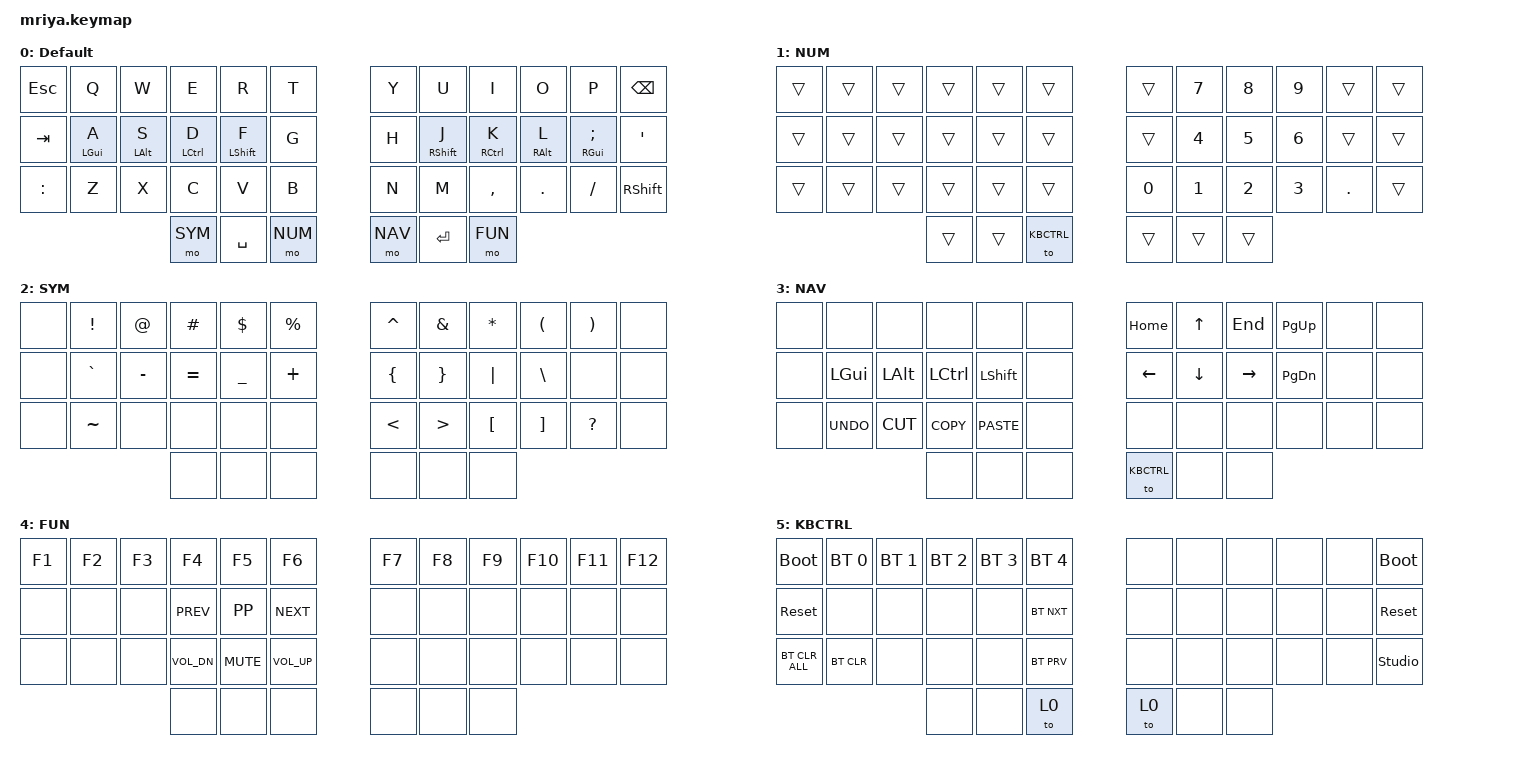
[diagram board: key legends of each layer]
/*
 * Copyright (c) 2020 The ZMK Contributors
 *
 * SPDX-License-Identifier: MIT
 */

#include <behaviors.dtsi>
#include <dt-bindings/zmk/keys.h>
#include <dt-bindings/zmk/bt.h>

#define DEFAULT 0
#define NUM     1
#define SYM     2
#define NAV     3
#define FUN     4
#define KBCTRL  5

#define HM_A  &hm LGUI A
#define HM_S  &hm LALT S
#define HM_D  &hm LCTL D
#define HM_F  &hm LSHFT F

#define HM_J  &hm RSHFT J
#define HM_K  &hm RCTL  K
#define HM_L  &hm RALT  L
#define HM_SCLN &hm RGUI SEMI

&lt {
};

&mt { flavor = "balanced"; };

/ {
};

/ {
    combos {
        compatible = "zmk,combos";

        ju-enter {
            bindings = <&kp ENTER>;
            key-positions = <7 19>;
        };

        fr-enter {
            bindings = <&kp ENTER>;
            key-positions = <16 4>;
        };
    };
    behaviors {
        hm: home_row_mods {
            compatible = "zmk,behavior-hold-tap";
            #binding-cells = <2>;
            tapping-term-ms = <300>;
            quick-tap-ms = <0>;
            flavor = "tap-preferred";
            bindings = <&kp>, <&kp>;
        };
    };
};

/ {
    keymap {
        compatible = "zmk,keymap";

        // ▄▄▄▄▄▄▄▄▄▄▄▄▄▄▄▄▄▄▄▄▄▄▄▄▄▄▄▄▄▄▄▄▄▄▄▄▄▄▄▄▄▄▄▄▄▄▄▄▄▄▄▄▄▄▄▄▄▄▄▄▄▄▄▄▄▄▄▄▄▄▄▄▄▄▄▄▄▄▄▄▄▄▄▄▄▄▄▄▄▄▄▄▄▄▄▄▄▄▄▄▄▄▄▄▄▄▄▄▄▄▄▄▄▄

        default_layer {
            label = "Default";
            /*
┌───────┬───────┬───────┬───────┬───────┬───────┐                   ┌───────┬───────┬───────┬───────┬───────┬───────┐
│  ESC  │   Q   │   W   │   E   │   R   │   T   │                   │   Y   │   U   │   I   │   O   │   P   │ BSPC  │
├───────┼───────┼───────┼───────┼───────┼───────┤                   ├───────┼───────┼───────┼───────┼───────┼───────┤
│  TAB  │ A/GUI │ S/ALT │ D/CTL │ F/SFT │   G   │                   │   H   │ J/SFT │ K/CTL │ L/ALT │ ;/GUI │   '   │
├───────┼───────┼───────┼───────┼───────┼───────┤                   ├───────┼───────┼───────┼───────┼───────┼───────┤
│  :    │   Z   │   X   │   C   │   V   │   B   │                   │   N   │   M   │   ,   │   .   │   /   │ RSFT  │
└───────┴───────┴───────┴───────┼───────┼───────┼───────┐   ┌───────┼───────┼───────┼───────┴───────┴───────┴───────┘
                                │  SYM  │ SPACE │  NAV  │   │  NUM  │ ENTER │  FUN  │
                                └───────┴───────┴───────┘   └───────┴───────┴───────┘
            */

            bindings = <
                &kp ESC    &kp Q     &kp W     &kp E     &kp R     &kp T        &kp Y     &kp U     &kp I     &kp O     &kp P     &kp BSPC
                &kp TAB    HM_A      HM_S      HM_D      HM_F      &kp G        &kp H     HM_J      HM_K      HM_L      HM_SCLN   &kp APOS
                &kp COLON  &kp Z     &kp X     &kp C     &kp V     &kp B        &kp N     &kp M     &kp COMMA &kp DOT   &kp SLASH &kp RSHFT
                                              &mo SYM  &kp SPACE &mo NUM        &mo NAV &kp ENTER &mo FUN
            >;
        };

        // ▄▄▄▄▄▄▄▄▄▄▄▄▄▄▄▄▄▄▄▄▄▄▄▄▄▄▄▄▄▄▄▄▄▄▄▄▄▄▄▄▄▄▄▄▄▄▄▄▄▄▄▄▄▄▄▄▄▄▄▄▄▄▄▄▄▄▄▄▄▄▄▄▄▄▄▄▄▄▄▄▄▄▄▄▄▄▄▄▄▄▄▄▄▄▄▄▄▄▄▄▄▄▄▄▄▄▄▄▄▄▄▄▄▄

        num_layer {
            label = "NUM";
            /*
┌───────┬───────┬───────┬───────┬───────┬───────┐                   ┌───────┬───────┬───────┬───────┬───────┬───────┐
│       │   7   │   8   │   9   │       │       │                   │       │   7   │   8   │   9   │       │       │
├───────┼───────┼───────┼───────┼───────┼───────┤                   ├───────┼───────┼───────┼───────┼───────┼───────┤
│       │   4   │   5   │   6   │       │       │                   │       │   4   │   5   │   6   │       │       │
├───────┼───────┼───────┼───────┼───────┼───────┤                   ├───────┼───────┼───────┼───────┼───────┼───────┤
│       │   1   │   2   │   3   │   0   │   .   │                   │  0    │   1   │   2   │   3   │   .   │       │
└───────┴───────┴───────┴───────┼───────┼───────┼───────┐   ┌───────┼───────┼───────┼───────┴───────┴───────┴───────┘
                                │       │       │       │   │       │       │       │
                                └───────┴───────┴───────┘   └───────┴───────┴───────┘
            */

            bindings = <
                &trans &trans &trans &trans &trans &trans &trans &kp N7 &kp N8 &kp N9 &trans &trans
                &trans &trans &trans &trans &trans &trans &trans &kp N4 &kp N5 &kp N6 &trans &trans
                &trans &trans &trans &trans &trans &trans &kp N0 &kp N1 &kp N2 &kp N3 &kp DOT &trans  
                               &trans &trans &to KBCTRL         &trans &trans &trans
            >;
        };

        // ▄▄▄▄▄▄▄▄▄▄▄▄▄▄▄▄▄▄▄▄▄▄▄▄▄▄▄▄▄▄▄▄▄▄▄▄▄▄▄▄▄▄▄▄▄▄▄▄▄▄▄▄▄▄▄▄▄▄▄▄▄▄▄▄▄▄▄▄▄▄▄▄▄▄▄▄▄▄▄▄▄▄▄▄▄▄▄▄▄▄▄▄▄▄▄▄▄▄▄▄▄▄▄▄▄▄▄▄▄▄▄▄▄▄


        // ▄▄▄▄▄▄▄▄▄▄▄▄▄▄▄▄▄▄▄▄▄▄▄▄▄▄▄▄▄▄▄▄▄▄▄▄▄▄▄▄▄▄▄▄▄▄▄▄▄▄▄▄▄▄▄▄▄▄▄▄▄▄▄▄▄▄▄▄▄▄▄▄▄▄▄▄▄▄▄▄▄▄▄▄▄▄▄▄▄▄▄▄▄▄▄▄▄▄▄▄▄▄▄▄▄▄▄▄▄▄▄▄▄▄

        sym_layer {
            label = "SYM";
            /*
┌───────┬───────┬───────┬───────┬───────┬───────┐                   ┌───────┬───────┬───────┬───────┬───────┬───────┐
│       │   !   │   @   │   #   │   $   │   %   │                   │   ^   │   &   │   *   │   (   │   )   │       │
├───────┼───────┼───────┼───────┼───────┼───────┤                   ├───────┼───────┼───────┼───────┼───────┼───────┤
│       │   `   │   -   │   =   │   _   │   +   │                   │   {   │   }   │   |   │   \   │       │       │
├───────┼───────┼───────┼───────┼───────┼───────┤                   ├───────┼───────┼───────┼───────┼───────┼───────┤
│       │   ~   │       │       │       │       │                   │   <   │   >   │   [   │   ]   │   ?   │       │
└───────┴───────┴───────┴───────┼───────┼───────┼───────┐   ┌───────┼───────┼───────┼───────┴───────┴───────┴───────┘
                                │       │       │       │   │       │       │       │
                                └───────┴───────┴───────┘   └───────┴───────┴───────┘
            */

            bindings = <
                &none &kp EXCL  &kp AT    &kp HASH  &kp DOLLAR &kp PERCENT   &kp CARET &kp AMPS &kp STAR &kp LPAR &kp RPAR &none
                &none &kp GRAVE &kp MINUS &kp EQUAL &kp UNDER  &kp PLUS    &kp LEFT_BRACE &kp RIGHT_BRACE &kp PIPE &kp BACKSLASH &none &none
                &none &kp TILDE &none     &none     &none      &none         &kp LT     &kp GT     &kp LEFT_BRACKET &kp RIGHT_BRACKET &kp QUESTION &none
                               &none &none &none                  &none &none &none
            >;
        };

        // ▄▄▄▄▄▄▄▄▄▄▄▄▄▄▄▄▄▄▄▄▄▄▄▄▄▄▄▄▄▄▄▄▄▄▄▄▄▄▄▄▄▄▄▄▄▄▄▄▄▄▄▄▄▄▄▄▄▄▄▄▄▄▄▄▄▄▄▄▄▄▄▄▄▄▄▄▄▄▄▄▄▄▄▄▄▄▄▄▄▄▄▄▄▄▄▄▄▄▄▄▄▄▄▄▄▄▄▄▄▄▄▄▄▄
        // ▄▄▄▄▄▄▄▄▄▄▄▄▄▄▄▄▄▄▄▄▄▄▄▄▄▄▄▄▄▄▄▄▄▄▄▄▄▄▄▄▄▄▄▄▄▄▄▄▄▄▄▄▄▄▄▄▄▄▄▄▄▄▄▄▄▄▄▄▄▄▄▄▄▄▄▄▄▄▄▄▄▄▄▄▄▄▄▄▄▄▄▄▄▄▄▄▄▄▄▄▄▄▄▄▄▄▄▄▄▄▄▄▄▄

        nav_layer {
            label = "NAV";
            /*
┌───────┬───────┬───────┬───────┬───────┬───────┐                   ┌───────┬───────┬───────┬───────┬───────┬───────┐
│       │       │       │       │       │       │                   │ HOME  │  UP   │  END  │ PGUP  │       │       │
├───────┼───────┼───────┼───────┼───────┼───────┤                   ├───────┼───────┼───────┼───────┼───────┼───────┤
│       │ LGUI  │ LALT  │ LCTL  │ LSFT  │       │                   │ LEFT  │ DOWN  │ RIGHT │ PGDN  │       │       │
├───────┼───────┼───────┼───────┼───────┼───────┤                   ├───────┼───────┼───────┼───────┼───────┼───────┤
│       │ UNDO  │ CUT   │ COPY  │ PASTE │       │                   │       │       │       │       │       │       │
└───────┴───────┴───────┴───────┼───────┼───────┼───────┐   ┌───────┼───────┼───────┼───────┴───────┴───────┴───────┘
                                │       │       │       │   │       │       │       │
                                └───────┴───────┴───────┘   └───────┴───────┴───────┘
            */

            bindings = <
                &none &none &none &none &none &none        &kp HOME &kp UP    &kp END   &kp PG_UP &none &none
                &none &kp LGUI &kp LALT &kp LCTL &kp LSHFT &none   &kp LEFT &kp DOWN &kp RIGHT &kp PG_DN &none &none
                &none &kp K_UNDO &kp K_CUT  &kp K_COPY &kp K_PASTE &none   &none &none &none &none &none &none
                               &none &none &none                  &to KBCTRL &none &none
            >;
        };

        // ▄▄▄▄▄▄▄▄▄▄▄▄▄▄▄▄▄▄▄▄▄▄▄▄▄▄▄▄▄▄▄▄▄▄▄▄▄▄▄▄▄▄▄▄▄▄▄▄▄▄▄▄▄▄▄▄▄▄▄▄▄▄▄▄▄▄▄▄▄▄▄▄▄▄▄▄▄▄▄▄▄▄▄▄▄▄▄▄▄▄▄▄▄▄▄▄▄▄▄▄▄▄▄▄▄▄▄▄▄▄▄▄▄▄

        fun_layer {
            label = "FUN";
            /*
┌───────┬───────┬───────┬───────┬───────┬───────┐                   ┌───────┬───────┬───────┬───────┬───────┬───────┐
│  F1   │  F2   │  F3   │  F4   │  F5   │  F6   │                   │  F7   │  F8   │  F9   │ F10   │ F11   │ F12   │
├───────┼───────┼───────┼───────┼───────┼───────┤                   ├───────┼───────┼───────┼───────┼───────┼───────┤
│       │       │       │ PREV  │ PLAY  │ NEXT  │                   │       │       │       │       │       │       │
├───────┼───────┼───────┼───────┼───────┼───────┤                   ├───────┼───────┼───────┼───────┼───────┼───────┤
│       │       │       │ VOLD  │ MUTE  │ VOLU  │                   │       │       │       │       │       │       │
└───────┴───────┴───────┴───────┼───────┼───────┼───────┐   ┌───────┼───────┼───────┼───────┴───────┴───────┴───────┘
                                │       │       │       │   │       │       │       │
                                └───────┴───────┴───────┘   └───────┴───────┴───────┘
            */

            bindings = <
                &kp F1 &kp F2 &kp F3 &kp F4 &kp F5 &kp F6                 &kp F7 &kp F8 &kp F9 &kp F10 &kp F11 &kp F12
                &none  &none  &none &kp K_PREV  &kp K_PP &kp K_NEXT       &none   &none   &none &none  &none  &none  
                &none  &none  &none &kp K_VOL_DN &kp K_MUTE &kp K_VOL_UP  &none   &none   &none &none  &none  &none  
                              &none &none &none                 &none &none &none
            >;
        };

        // ▄▄▄▄▄▄▄▄▄▄▄▄▄▄▄▄▄▄▄▄▄▄▄▄▄▄▄▄▄▄▄▄▄▄▄▄▄▄▄▄▄▄▄▄▄▄▄▄▄▄▄▄▄▄▄▄▄▄▄▄▄▄▄▄▄▄▄▄▄▄▄▄▄▄▄▄▄▄▄▄▄▄▄▄▄▄▄▄▄▄▄▄▄▄▄▄▄▄▄▄▄▄▄▄▄▄▄▄▄▄▄▄▄▄

        kb_control_layer {
            // ┌────────────────────────────────────────────┐

            label = "KBCTRL";

            // └────────────────────────────────────────────┘
            /*
┌───────┬───────┬───────┬───────┬───────┬───────┐                   ┌───────┬───────┬───────┬───────┬───────┬───────┐
│ BKSP  │   *   │   9   │   8   │   7   │   +   │                   │ NEXT  │ VOLU  │ PSCRN │       │       │ RGUI  │
├───────┼───────┼───────┼───────┼───────┼───────┤                   ├───────┼───────┼───────┼───────┼───────┼───────┤                      
│ CTRL  │   /   │   3   │   2   │   1   │   0   │                   │ PLAY  │ VOLD  │       │       │       │ CTRL  │
├───────┼───────┼───────┼───────┼───────┼───────┤                   ├───────┼───────┼───────┼───────┼───────┼───────┤
│ ALT/= │   .   │   6   │   5   │   4   │   -   │                   │ PREV  │ MUTE  │       │       │       │ RALT  │
└───────┴───────┴───────┴───────┼───────┼───────┼───────┐   ┌───────┼───────┼───────┼───────┴───────┴───────┴───────┘
                                │   ▲   │ LSHFT │  ADJ  │   │  ADJ  │ RSHFT │   ▲   │
                                └───────┴───────┴───────┘   └───────┴───────┴───────┘  
*/

            bindings = <
&bootloader     &bt BT_SEL 0  &bt BT_SEL 1  &bt BT_SEL 2  &bt BT_SEL 3  &bt BT_SEL 4                &none  &none  &none  &none  &none  &bootloader
&sys_reset      &none         &none         &none         &none         &bt BT_NXT                  &none  &none  &none  &none  &none  &sys_reset
&bt BT_CLR_ALL  &bt BT_CLR    &none         &none         &none         &bt BT_PRV                  &none  &none  &none  &none  &none  &studio_unlock
                                                          &none         &none         &to 0  &to 0  &none  &none
            >;
        };

        // ▄▄▄▄▄▄▄▄▄▄▄▄▄▄▄▄▄▄▄▄▄▄▄▄▄▄▄▄▄▄▄▄▄▄▄▄▄▄▄▄▄▄▄▄▄▄▄▄▄▄▄▄▄▄▄▄▄▄▄▄▄▄▄▄▄▄▄▄▄▄▄▄▄▄▄▄▄▄▄▄▄▄▄▄▄▄▄▄▄▄▄▄▄▄▄▄▄▄▄▄▄▄▄▄▄▄▄▄▄▄▄▄▄▄
        // ▄▄▄▄▄▄▄▄▄▄▄▄▄▄▄▄▄▄▄▄▄▄▄▄▄▄▄▄▄▄▄▄▄▄▄▄▄▄▄▄▄▄▄▄▄▄▄▄▄▄▄▄▄▄▄▄▄▄▄▄▄▄▄▄▄▄▄▄▄▄▄▄▄▄▄▄▄▄▄▄▄▄▄▄▄▄▄▄▄▄▄▄▄▄▄▄▄▄▄▄▄▄▄▄▄▄▄▄▄▄▄▄▄▄		
    };
};
